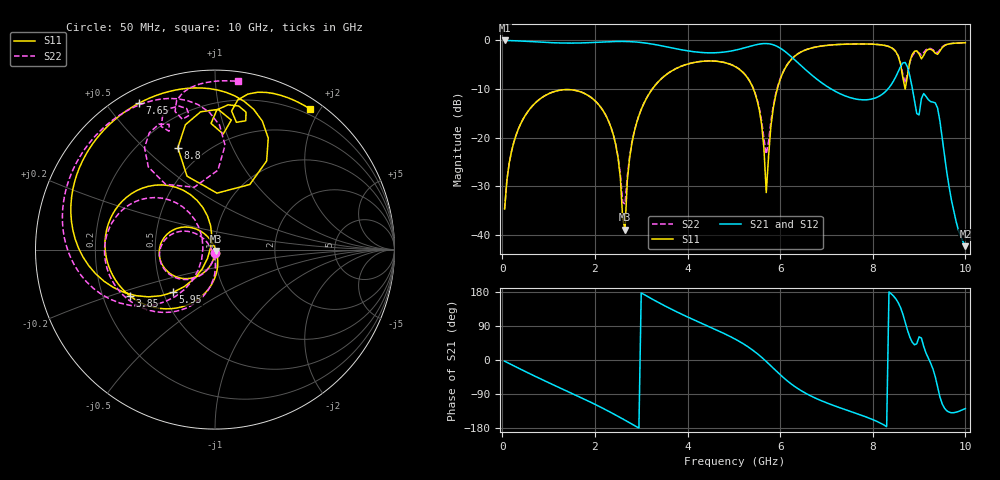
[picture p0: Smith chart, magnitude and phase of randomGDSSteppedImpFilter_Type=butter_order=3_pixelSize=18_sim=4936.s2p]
! freq	dB(S11)	phase(S11)	dB(S12)	phase(S12)
!  dB(S21)	phase(S21)	dB(S22)	phase(S22)
!S-par simulation data
#  GHz  S  DB  R 50
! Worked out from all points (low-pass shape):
!   200 points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, 50 MHz to 10 GHz, reference 50 ohm
!   highest |S21| = -0.01 dB at 50 MHz (marker M1); lowest = -42.4 dB at 10 GHz (marker M2)
!   |S21| within 3 dB of the highest: start of sweep to 6.199 GHz
!   lowest |S11| = -39.0 dB at 2.65 GHz (marker M3), VSWR 1.02, Z = 50.8 - j0.851 ohm
!   |S11| at or under -10 dB: start of sweep to 3.241 GHz; 5.421 GHz to 5.938 GHz (516.7 MHz wide, 9.1 % of centre); 8.699186 GHz to 8.70066 GHz (1.474 MHz wide, 0.0169 % of centre)
!   |S22| runs from -34.7 to -0.5 dB; largest |S21 - S12| = 0
!   S11 on the Smith chart (normalised r, x): 50 MHz: 1.00, -0.04; 3.85 GHz: 0.32, -0.23; 5.95 GHz: 0.56, -0.30; 7.65 GHz: 0.06, +0.61; 8.8 GHz: 0.36, +0.64; 10 GHz: 0.13, +1.87
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0.05  -34.72 -93.0  -0.01 -3.1  -0.01 -3.1  -34.72 -92.9
0.2  -22.81 -102.8  -0.04 -12.4  -0.04 -12.4  -22.80 -102.3
0.55  -14.67 -124.7  -0.20 -33.6  -0.20 -33.6  -14.67 -123.4
1.75  -10.82 165.2  -0.50 -102.1  -0.50 -102.1  -10.81 170.3
2.4  -19.54 123.6  -0.23 -142.0  -0.23 -142.0  -19.47 137.2
2.65  -38.95 -48.0  -0.21 -158.8  -0.21 -158.8  -33.68 -127.8
2.85  -18.82 -84.2  -0.30 -172.6  -0.30 -172.6  -18.70 -89.3
3.4  -8.21 -123.1  -1.03 149.9  -1.03 149.9  -8.19 -119.8
3.85  -5.37 -151.3  -1.89 122.2  -1.89 122.2  -5.36 -145.7
5.05  -5.51 139.8  -1.97 53.7  -1.97 53.7  -5.48 151.2
5.5  -12.23 106.2  -0.85 17.3  -0.85 17.3  -12.03 124.8
5.7  -31.34 153.2  -0.64 -3.9  -0.64 -3.9  -23.40 173.9
5.95  -9.55 -134.5  -1.30 -33.0  -1.30 -33.0  -9.36 -130.1
6.7  -1.51 162.7  -7.27 -97.1  -7.27 -97.1  -1.48 175.3
7.65  -0.73 117.2  -12.10 -141.3  -12.10 -141.3  -0.72 134.7
8.35  -1.28 82.6  -9.74 179.7  -9.74 179.7  -1.25 103.9
8.6  -4.86 59.8  -5.40 138.3  -5.40 138.3  -4.67 84.5
8.7  -10.04 88.0  -4.54 100.0  -4.54 100.0  -8.72 108.4
8.8  -4.37 110.0  -7.33 60.5  -7.33 60.5  -4.56 128.9
8.95  -2.14 88.7  -15.06 42.9  -15.06 42.9  -2.32 114.1
9.4  -2.86 80.4  -13.95 -71.4  -13.95 -71.4  -2.51 104.1
10  -0.48 56.1  -42.37 -128.2  -42.37 -128.2  -0.48 82.2
